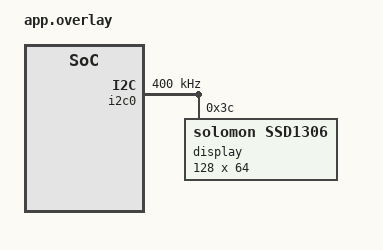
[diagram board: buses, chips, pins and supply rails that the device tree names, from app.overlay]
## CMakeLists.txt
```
cmake_minimum_required(VERSION 3.20.0)

find_package(Zephyr)
project(raycasting)

target_sources(app PRIVATE src/main.c src/game/game.c src/engine/render/render.c)
```

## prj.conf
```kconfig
CONFIG_DISPLAY=y
CONFIG_LOG=y
CONFIG_SSD1306=y
CONFIG_SSD1306_DEFAULT_CONTRAST=255
CONFIG_CHARACTER_FRAMEBUFFER=y
CONFIG_PICOLIBC=y
```

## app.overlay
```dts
&pinctrl {
	i2c0_custom: i2c0_custom {
		group1 {
			pinmux = <I2C0_SDA_GPIO38>, <I2C0_SCL_GPIO39>;
			bias-pull-up;
			drive-open-drain;
			output-high;
		};
	};
};

&i2c0 {
	status="okay";
	clock-frequency= <I2C_BITRATE_FAST>;

	pinctrl-0 = <&i2c0_custom>;
	pinctrl-names = "default";

	display: display@3c {
		compatible="solomon,ssd1306";
		reg = <0x3c>;

		height=<64>;
		width=<128>;

		segment-offset=<0>;
		page-offset=<0>;
		display-offset=<0>;
		multiplex-ratio=<63>;
		prechargep=<0x22>;
	};
};
```

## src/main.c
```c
#include <zephyr/devicetree.h>
#include <zephyr/device.h>
#include <zephyr/logging/log.h>
#include <zephyr/sleep.h>

#include "game/game.h"

int main () {
    // Initialize Game
    game_init();

    return 0;
}
```
